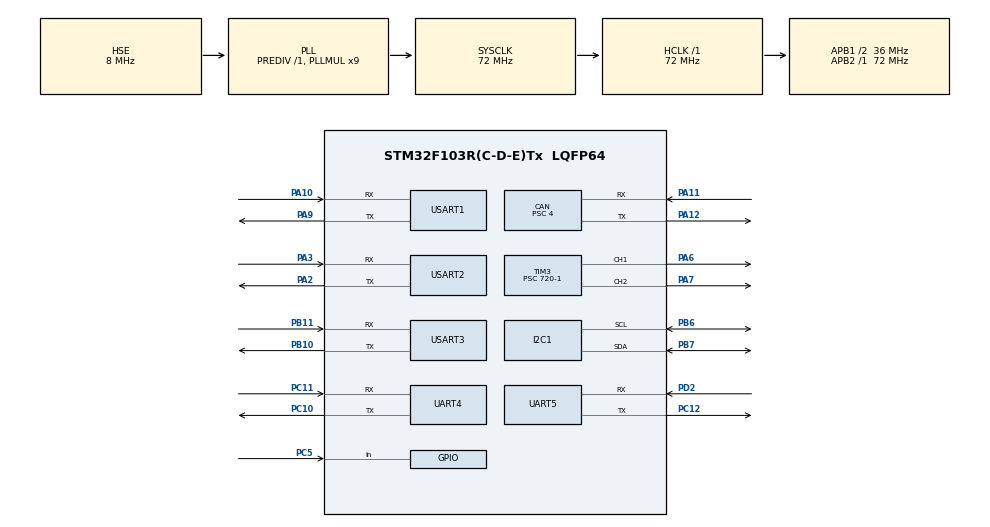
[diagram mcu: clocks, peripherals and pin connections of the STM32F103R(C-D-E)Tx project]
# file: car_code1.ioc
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CAN.ABOM=ENABLE
CAN.BS1=CAN_BS1_14TQ
CAN.BS2=CAN_BS2_3TQ
CAN.CalculateBaudRate=500000
CAN.CalculateTimeBit=2000
CAN.CalculateTimeQuantum=111.11111111111111
CAN.NART=ENABLE
CAN.Prescaler=4
Dma.Request0=USART1_RX
Dma.Request1=USART2_RX
Dma.Request2=USART3_RX
Dma.Request3=UART4_RX
Dma.UART4_RX.3.Direction=DMA_PERIPH_TO_MEMORY
Dma.UART4_RX.3.Instance=DMA2_Channel3
Dma.UART4_RX.3.MemDataAlignment=DMA_MDATAALIGN_BYTE
Dma.UART4_RX.3.MemInc=DMA_MINC_ENABLE
Dma.UART4_RX.3.Mode=DMA_CIRCULAR
Dma.UART4_RX.3.PeriphDataAlignment=DMA_PDATAALIGN_BYTE
Dma.UART4_RX.3.PeriphInc=DMA_PINC_DISABLE
Dma.UART4_RX.3.Priority=DMA_PRIORITY_HIGH
Dma.USART1_RX.0.Direction=DMA_PERIPH_TO_MEMORY
Dma.USART1_RX.0.Instance=DMA1_Channel5
Dma.USART1_RX.0.MemDataAlignment=DMA_MDATAALIGN_BYTE
Dma.USART1_RX.0.MemInc=DMA_MINC_ENABLE
Dma.USART1_RX.0.Mode=DMA_CIRCULAR
Dma.USART1_RX.0.PeriphDataAlignment=DMA_PDATAALIGN_BYTE
Dma.USART1_RX.0.PeriphInc=DMA_PINC_DISABLE
Dma.USART1_RX.0.Priority=DMA_PRIORITY_HIGH
Dma.USART2_RX.1.Direction=DMA_PERIPH_TO_MEMORY
Dma.USART2_RX.1.Instance=DMA1_Channel6
Dma.USART2_RX.1.MemDataAlignment=DMA_MDATAALIGN_BYTE
Dma.USART2_RX.1.MemInc=DMA_MINC_ENABLE
Dma.USART2_RX.1.Mode=DMA_CIRCULAR
Dma.USART2_RX.1.PeriphDataAlignment=DMA_PDATAALIGN_BYTE
Dma.USART2_RX.1.PeriphInc=DMA_PINC_DISABLE
Dma.USART2_RX.1.Priority=DMA_PRIORITY_HIGH
Dma.USART3_RX.2.Direction=DMA_PERIPH_TO_MEMORY
Dma.USART3_RX.2.Instance=DMA1_Channel3
Dma.USART3_RX.2.MemDataAlignment=DMA_MDATAALIGN_BYTE
Dma.USART3_RX.2.MemInc=DMA_MINC_ENABLE
Dma.USART3_RX.2.Mode=DMA_CIRCULAR
Dma.USART3_RX.2.PeriphDataAlignment=DMA_PDATAALIGN_BYTE
Dma.USART3_RX.2.PeriphInc=DMA_PINC_DISABLE
Dma.USART3_RX.2.Priority=DMA_PRIORITY_HIGH
FREERTOS.Tasks01=MonitorTask,-1,128,StartMonitorTask,Default,NULL,Dynamic,NULL,NULL;RobotTask,2,128,StartRobotTask,Default,NULL,Dynamic,NULL,NULL;CommTask,1,128,StartCommTask,Default,NULL,Dynamic,NULL,NULL;DisplayTask,-2,128,StartDisplayTask,Default,NULL,Dynamic,NULL,NULL
I2C1.I2C_Mode=I2C_Fast
Mcu.Family=STM32F1
Mcu.Name=STM32F103R(C-D-E)Tx
Mcu.Package=LQFP64
NVIC.DMA1_Channel3_IRQn=true\:5\:0\:false\:false\:true\:true\:false\:true\:true
NVIC.DMA1_Channel5_IRQn=true\:5\:0\:false\:false\:true\:true\:false\:true\:true
NVIC.DMA1_Channel6_IRQn=true\:5\:0\:false\:false\:true\:true\:false\:true\:true
NVIC.DMA2_Channel3_IRQn=true\:5\:0\:false\:false\:true\:true\:false\:true\:true
NVIC.PriorityGroup=NVIC_PRIORITYGROUP_4
NVIC.TIM6_IRQn=true\:15\:0\:false\:false\:true\:false\:false\:true\:true
NVIC.TimeBase=TIM6_IRQn
NVIC.TimeBaseIP=TIM6
NVIC.UART4_IRQn=true\:6\:0\:true\:false\:true\:true\:true\:true\:true
NVIC.UART5_IRQn=true\:6\:0\:true\:false\:true\:true\:true\:true\:true
NVIC.USART1_IRQn=true\:6\:0\:true\:false\:true\:true\:true\:true\:true
NVIC.USART2_IRQn=true\:6\:0\:true\:false\:true\:true\:true\:true\:true
NVIC.USART3_IRQn=true\:6\:0\:true\:false\:true\:true\:true\:true\:true
NVIC.USB_LP_CAN1_RX0_IRQn=true\:5\:0\:false\:false\:true\:true\:true\:true\:true
PA10.Mode=Asynchronous
PA10.Signal=USART1_RX
PA11.Mode=CAN_Activate
PA11.Signal=CAN_RX
PA12.Mode=CAN_Activate
PA12.Signal=CAN_TX
PA13.Mode=Serial_Wire
PA13.Signal=SYS_JTMS-SWDIO
PA14.Mode=Serial_Wire
PA14.Signal=SYS_JTCK-SWCLK
PA2.Mode=Asynchronous
PA2.Signal=USART2_TX
PA3.Mode=Asynchronous
PA3.Signal=USART2_RX
PA6.Signal=S_TIM3_CH1
PA7.Signal=S_TIM3_CH2
PA9.Mode=Asynchronous
PA9.Signal=USART1_TX
PB10.Mode=Asynchronous
PB10.Signal=USART3_TX
PB11.Mode=Asynchronous
PB11.Signal=USART3_RX
PB6.Mode=I2C
PB6.Signal=I2C1_SCL
PB7.Mode=I2C
PB7.Signal=I2C1_SDA
PC10.Mode=Asynchronous
PC10.Signal=UART4_TX
PC11.Mode=Asynchronous
PC11.Signal=UART4_RX
PC12.Mode=Asynchronous
PC12.Signal=UART5_TX
PC5.GPIO_PuPd=GPIO_PULLUP
PC5.Signal=GPIO_Input
PD0-OSC_IN.Mode=HSE-External-Oscillator
PD0-OSC_IN.Signal=RCC_OSC_IN
PD1-OSC_OUT.Mode=HSE-External-Oscillator
PD1-OSC_OUT.Signal=RCC_OSC_OUT
PD2.Mode=Asynchronous
PD2.Signal=UART5_RX
ProjectManager.HeapSize=0x200
ProjectManager.StackSize=0x400
ProjectManager.TargetToolchain=MDK-ARM V5.32
RCC.AHBFreq_Value=72000000
RCC.APB1CLKDivider=RCC_HCLK_DIV2
RCC.APB1Freq_Value=36000000
RCC.APB1TimFreq_Value=72000000
RCC.APB2Freq_Value=72000000
RCC.APB2TimFreq_Value=72000000
RCC.HCLKFreq_Value=72000000
RCC.PLLMUL=RCC_PLL_MUL9
RCC.PLLSourceVirtual=RCC_PLLSOURCE_HSE
RCC.SYSCLKFreq_VALUE=72000000
RCC.SYSCLKSource=RCC_SYSCLKSOURCE_PLLCLK
RCC.USBFreq_Value=72000000
SH.S_TIM3_CH1.0=TIM3_CH1,PWM Generation1 CH1
SH.S_TIM3_CH2.0=TIM3_CH2,PWM Generation2 CH2
TIM3.Channel-PWM\ Generation1\ CH1=TIM_CHANNEL_1
TIM3.Channel-PWM\ Generation2\ CH2=TIM_CHANNEL_2
TIM3.Period=19999
TIM3.Prescaler=720-1
TIM3.Pulse-PWM\ Generation1\ CH1=1000-1
TIM3.Pulse-PWM\ Generation2\ CH2=0
UART4.VirtualMode=Asynchronous
UART5.VirtualMode=Asynchronous
USART1.VirtualMode=VM_ASYNC
USART2.VirtualMode=VM_ASYNC
USART3.VirtualMode=VM_ASYNC
VP_FREERTOS_VS_CMSIS_V1.Mode=CMSIS_V1
VP_SYS_VS_tim6.Mode=TIM6
VP_TIM3_VS_ClockSourceINT.Mode=Internal
board=custom

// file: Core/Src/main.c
/* USER CODE BEGIN Header */
/**
  ******************************************************************************
  * @file           : main.c
  * @brief          : Main program body
  ******************************************************************************
  * @attention
  *
  * Copyright (c) 2026 STMicroelectronics.
  * All rights reserved.
  *
  * This software is licensed under terms that can be found in the LICENSE file
  * in the root directory of this software component.
  * If no LICENSE file comes with this software, it is provided AS-IS.
  *
  ******************************************************************************
  */
/* USER CODE END Header */
#include "main.h"
#include "cmsis_os.h"
#include "can.h"
#include "dma.h"
#include "i2c.h"
#include "tim.h"
#include "usart.h"
#include "gpio.h"

/* USER CODE BEGIN Includes */
#include "chassis_debug.h"
/* USER CODE END Includes */

/* USER CODE BEGIN PV */
/* Boot stage: 1 main, 2 HAL, 3 clock, 4 GPIO, 5 CAN init,
 * 6 filters, 7 CAN started, 8 notifications, 9 key task ready.
 * A debugger halt before C runtime initialization has no valid globals.
 */
volatile uint32_t app_boot_stage;
volatile uint32_t app_error;

/* USER CODE END PV */

void SystemClock_Config(void);
void MX_FREERTOS_Init(void);

int main(void)
{

  /* USER CODE BEGIN 1 */
  app_boot_stage = 1;
  app_error = 0;

  /* USER CODE END 1 */

  /* MCU Configuration--------------------------------------------------------*/

  /* Reset of all peripherals, Initializes the Flash interface and the Systick. */
  HAL_Init();

  /* USER CODE BEGIN Init */
  app_boot_stage = 2;

  /* USER CODE END Init */

  /* Configure the system clock */
  SystemClock_Config();

  /* USER CODE BEGIN SysInit */
  app_boot_stage = 3;

  /* USER CODE END SysInit */

  /* Initialize all configured peripherals */
  MX_GPIO_Init();
  MX_DMA_Init();
  MX_CAN_Init();
  MX_I2C1_Init();
  MX_UART4_Init();
  MX_USART1_UART_Init();
  MX_USART2_UART_Init();
  MX_USART3_UART_Init();
  MX_UART5_Init();
  MX_TIM3_Init();
  /* USER CODE BEGIN 2 */
  app_boot_stage = 5;
  USER_CAN1_Filter_Init();
  app_boot_stage = 6;
  if (HAL_CAN_Start(&hcan) != HAL_OK) Error_Handler();
  app_boot_stage = 7;
  if (HAL_CAN_ActivateNotification(&hcan,
      CAN_IT_RX_FIFO0_MSG_PENDING) != HAL_OK) Error_Handler();
  app_boot_stage = 8;
  HAL_Delay(1000);
  Chassis_DebugInit();
  app_boot_stage = 9;
	//Chassis_MoveForward(-500.0f, 60, 120);
  /* USER CODE END 2 */

  /* Call init function for freertos objects (in cmsis_os2.c) */
  MX_FREERTOS_Init();

  /* Start scheduler */
  osKernelStart();

  /* We should never get here as control is now taken by the scheduler */

  /* Infinite loop */
  while (1)
  {

    /* USER CODE BEGIN 3 */
    Chassis_DebugTask();
    HAL_Delay(1);
  }
  /* USER CODE END 3 */
}

void SystemClock_Config(void)
{
  RCC_OscInitTypeDef RCC_OscInitStruct = {0};
  RCC_ClkInitTypeDef RCC_ClkInitStruct = {0};

  /** Initializes the RCC Oscillators according to the specified parameters
  * in the RCC_OscInitTypeDef structure.
  */
  RCC_OscInitStruct.OscillatorType = RCC_OSCILLATORTYPE_HSE;
  RCC_OscInitStruct.HSEState = RCC_HSE_ON;
  RCC_OscInitStruct.HSEPredivValue = RCC_HSE_PREDIV_DIV1;
  RCC_OscInitStruct.HSIState = RCC_HSI_ON;
  RCC_OscInitStruct.PLL.PLLState = RCC_PLL_ON;
  RCC_OscInitStruct.PLL.PLLSource = RCC_PLLSOURCE_HSE;
  RCC_OscInitStruct.PLL.PLLMUL = RCC_PLL_MUL9;
  if (HAL_RCC_OscConfig(&RCC_OscInitStruct) != HAL_OK)
  {
    Error_Handler();
  }

  /** Initializes the CPU, AHB and APB buses clocks
  */
  RCC_ClkInitStruct.ClockType = RCC_CLOCKTYPE_HCLK|RCC_CLOCKTYPE_SYSCLK
                              |RCC_CLOCKTYPE_PCLK1|RCC_CLOCKTYPE_PCLK2;
  RCC_ClkInitStruct.SYSCLKSource = RCC_SYSCLKSOURCE_PLLCLK;
  RCC_ClkInitStruct.AHBCLKDivider = RCC_SYSCLK_DIV1;
  RCC_ClkInitStruct.APB1CLKDivider = RCC_HCLK_DIV2;
  RCC_ClkInitStruct.APB2CLKDivider = RCC_HCLK_DIV1;

  if (HAL_RCC_ClockConfig(&RCC_ClkInitStruct, FLASH_LATENCY_2) != HAL_OK)
  {
    Error_Handler();
  }
}

void HAL_TIM_PeriodElapsedCallback(TIM_HandleTypeDef *htim)
{
  if (htim->Instance == TIM6)
  {
    HAL_IncTick();
  }
}

void Error_Handler(void)
{
  /* USER CODE BEGIN Error_Handler_Debug */
  app_error = 1;
  /* User can add his own implementation to report the HAL error return state */
  __disable_irq();
  while (1)
  {
  }
  /* USER CODE END Error_Handler_Debug */
}

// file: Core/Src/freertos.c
/* USER CODE BEGIN Header */
/**
  ******************************************************************************
  * File Name          : freertos.c
  * Description        : Code for freertos applications
  ******************************************************************************
  * @attention
  *
  * Copyright (c) 2026 STMicroelectronics.
  * All rights reserved.
  *
  * This software is licensed under terms that can be found in the LICENSE file
  * in the root directory of this software component.
  * If no LICENSE file comes with this software, it is provided AS-IS.
  *
  ******************************************************************************
  */
/* USER CODE END Header */

#include "FreeRTOS.h"
#include "task.h"
#include "main.h"
#include "cmsis_os.h"

osThreadId MonitorTaskHandle;
osThreadId RobotTaskHandle;
osThreadId CommTaskHandle;
osThreadId DisplayTaskHandle;

void StartMonitorTask(void const * argument);
void StartRobotTask(void const * argument);
void StartCommTask(void const * argument);
void StartDisplayTask(void const * argument);

void MX_FREERTOS_Init(void); /* (MISRA C 2004 rule 8.1) */

/* GetIdleTaskMemory prototype (linked to static allocation support) */
void vApplicationGetIdleTaskMemory( StaticTask_t **ppxIdleTaskTCBBuffer, StackType_t **ppxIdleTaskStackBuffer, uint32_t *pulIdleTaskStackSize );

/* USER CODE BEGIN GET_IDLE_TASK_MEMORY */
static StaticTask_t xIdleTaskTCBBuffer;
static StackType_t xIdleStack[configMINIMAL_STACK_SIZE];

void vApplicationGetIdleTaskMemory( StaticTask_t **ppxIdleTaskTCBBuffer, StackType_t **ppxIdleTaskStackBuffer, uint32_t *pulIdleTaskStackSize )
{
  *ppxIdleTaskTCBBuffer = &xIdleTaskTCBBuffer;
  *ppxIdleTaskStackBuffer = &xIdleStack[0];
  *pulIdleTaskStackSize = configMINIMAL_STACK_SIZE;
  /* place for user code */
}
/* USER CODE END GET_IDLE_TASK_MEMORY */

void MX_FREERTOS_Init(void) {

  /* Create the thread(s) */
  /* definition and creation of MonitorTask */
  osThreadDef(MonitorTask, StartMonitorTask, osPriorityBelowNormal, 0, 128);
  MonitorTaskHandle = osThreadCreate(osThread(MonitorTask), NULL);

  /* definition and creation of RobotTask */
  osThreadDef(RobotTask, StartRobotTask, osPriorityHigh, 0, 128);
  RobotTaskHandle = osThreadCreate(osThread(RobotTask), NULL);

  /* definition and creation of CommTask */
  osThreadDef(CommTask, StartCommTask, osPriorityAboveNormal, 0, 128);
  CommTaskHandle = osThreadCreate(osThread(CommTask), NULL);

  /* definition and creation of DisplayTask */
  osThreadDef(DisplayTask, StartDisplayTask, osPriorityLow, 0, 128);
  DisplayTaskHandle = osThreadCreate(osThread(DisplayTask), NULL);

}

void StartMonitorTask(void const * argument)
{
  for(;;)
  {
    osDelay(1);
  }
}

void StartRobotTask(void const * argument)
{
  for(;;)
  {
    osDelay(1);
  }
}

void StartCommTask(void const * argument)
{
  for(;;)
  {
    osDelay(1);
  }
}

void StartDisplayTask(void const * argument)
{
  for(;;)
  {
    osDelay(1);
  }
}
